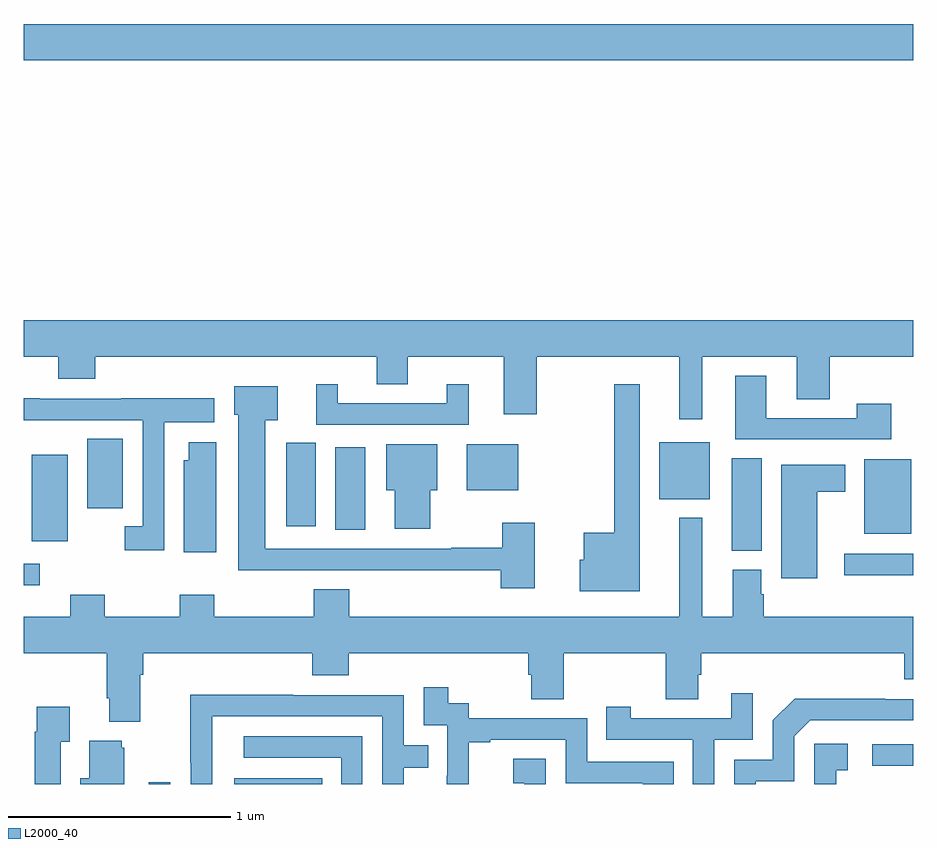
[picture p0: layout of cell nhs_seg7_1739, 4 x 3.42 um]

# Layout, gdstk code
import gdstk
lib = gdstk.Library(unit=1e-6, precision=1e-09)
def R(c, l, rs):  # rectangles x0, y0, x1, y1
    for r in rs: c.add(gdstk.rectangle(r[:2], r[2:], *l))
def P(c, l, *ps):  # polygons
    for p in ps: c.add(gdstk.Polygon(p, *l))
L2000_40 = (2000, 40)

nhs_seg7_1739 = lib.new_cell('nhs_seg7_1739')
R(nhs_seg7_1739, L2000_40, [(229.563,1028,229.659,1028.007), (229.946,1028,230.342,1028.026), (232.815,1028.082,233,1028.178), (229,1028.894,229.072,1028.991), (232.689,1028.939,233,1029.036), (232.184,1029.049,232.318,1029.464), (229.037,1029.092,229.198,1029.481), (232.778,1029.125,232.99,1029.46), (230.402,1029.142,230.536,1029.514), (230.18,1029.159,230.314,1029.534), (229.286,1029.24,229.447,1029.551), (231.857,1029.281,232.084,1029.535), (230.993,1029.32,231.223,1029.526), (229,1031.252,233,1031.416)])
P(nhs_seg7_1739, L2000_40, [(232.051,1029.92),(232.475,1029.92),(232.475,1029.73),(232.623,1029.73),(232.623,1029.92),(233,1029.92),(233,1030.084),(229,1030.084),(229,1029.92),(229.157,1029.92),(229.157,1029.821),(229.322,1029.821),(229.322,1029.92),(230.588,1029.92),(230.588,1029.796),(230.728,1029.796),(230.728,1029.92),(231.158,1029.92),(231.158,1029.663),(231.306,1029.663),(231.306,1029.92),(231.947,1029.92),(231.947,1029.639),(232.051,1029.639)],
  [(232.9,1029.709),(232.744,1029.709),(232.744,1029.645),(232.339,1029.645),(232.339,1029.835),(232.199,1029.835),(232.199,1029.549),(232.9,1029.549)],
  [(231.001,1029.796),(230.903,1029.796),(230.903,1029.711),(230.413,1029.711),(230.413,1029.796),(230.315,1029.796),(230.315,1029.615),(231.001,1029.615)],
  [(231.769,1029.796),(231.655,1029.796),(231.655,1029.13),(231.518,1029.13),(231.518,1029.009),(231.5,1029.009),(231.5,1028.867),(231.769,1028.867)],
  [(231.298,1029.175),(231.151,1029.175),(231.151,1029.062),(230.923,1029.062),(230.923,1029.057),(230.086,1029.057),(230.086,1029.635),(230.143,1029.635),(230.143,1029.787),(229.946,1029.787),(229.946,1029.66),(229.964,1029.66),(229.964,1028.96),(230.182,1028.96),(230.182,1028.961),(230.548,1028.961),(230.548,1028.96),(231.146,1028.96),(231.146,1028.88),(231.298,1028.88)],
  [(229.632,1029.626),(229.858,1029.626),(229.858,1029.734),(229.439,1029.734),(229.439,1029.732),(229.073,1029.732),(229.073,1029.734),(229,1029.734),(229,1029.635),(229.19,1029.635),(229.19,1029.636),(229.536,1029.636),(229.536,1029.159),(229.455,1029.159),(229.455,1029.051),(229.632,1029.051)],
  [(229.867,1029.535),(229.742,1029.535),(229.742,1029.456),(229.721,1029.456),(229.721,1029.042),(229.867,1029.042)],
  [(230.827,1029.32),(230.86,1029.32),(230.86,1029.526),(230.63,1029.526),(230.63,1029.32),(230.669,1029.32),(230.669,1029.147),(230.827,1029.147)],
  [(232.567,1029.314),(232.693,1029.314),(232.693,1029.436),(232.406,1029.436),(232.406,1028.924),(232.567,1028.924)],
  [(232.033,1028.49),(232.046,1028.49),(232.046,1028.588),(232.958,1028.588),(232.958,1028.471),(233,1028.471),(233,1028.752),(232.328,1028.752),(232.328,1028.853),(232.315,1028.853),(232.315,1028.964),(232.187,1028.964),(232.187,1028.752),(232.051,1028.752),(232.051,1029.196),(231.947,1029.196),(231.947,1028.752),(230.465,1028.752),(230.465,1028.876),(230.305,1028.876),(230.305,1028.752),(229.857,1028.752),(229.857,1028.851),(229.702,1028.851),(229.702,1028.752),(229.365,1028.752),(229.365,1028.851),(229.21,1028.851),(229.21,1028.752),(229,1028.752),(229,1028.588),(229.373,1028.588),(229.373,1028.386),(229.385,1028.386),(229.385,1028.279),(229.525,1028.279),(229.525,1028.492),(229.538,1028.492),(229.538,1028.588),(230.297,1028.588),(230.297,1028.489),(230.462,1028.489),(230.462,1028.588),(231.269,1028.588),(231.269,1028.49),(231.281,1028.49),(231.281,1028.38),(231.429,1028.38),(231.429,1028.588),(231.886,1028.588),(231.886,1028.38),(232.033,1028.38)],
  [(231.002,1028.187),(231.097,1028.187),(231.097,1028.199),(231.438,1028.199),(231.438,1028.004),(231.783,1028.004),(231.783,1028),(231.923,1028),(231.923,1028.1),(231.534,1028.1),(231.534,1028.295),(231,1028.295),(231,1028.364),(230.908,1028.364),(230.908,1028.434),(230.799,1028.434),(230.799,1028.265),(230.904,1028.265),(230.904,1028.036),(230.903,1028.036),(230.903,1028),(231.002,1028)],
  [(232.104,1028.199),(232.278,1028.199),(232.278,1028.407),(232.181,1028.407),(232.181,1028.295),(231.73,1028.295),(231.73,1028.347),(231.619,1028.347),(231.619,1028.199),(232.008,1028.199),(232.008,1028),(232.104,1028)],
  [(229.848,1028.053),(229.849,1028.053),(229.849,1028.304),(230.613,1028.304),(230.613,1028),(230.709,1028),(230.709,1028.074),(230.819,1028.074),(230.819,1028.175),(230.709,1028.175),(230.709,1028.4),(230.213,1028.4),(230.213,1028.402),(229.75,1028.402),(229.75,1028.095),(229.752,1028.095),(229.752,1028),(229.848,1028)],
  [(232.291,1028.013),(232.464,1028.013),(232.464,1028.214),(232.536,1028.286),(233,1028.286),(233,1028.382),(232.874,1028.382),(232.874,1028.384),(232.466,1028.384),(232.368,1028.286),(232.368,1028.109),(232.194,1028.109),(232.194,1028),(232.291,1028)],
  [(229.167,1028.191),(229.207,1028.191),(229.207,1028.347),(229.059,1028.347),(229.059,1028.234),(229.051,1028.234),(229.051,1028),(229.167,1028)],
  [(230.523,1028.214),(229.989,1028.214),(229.989,1028.118),(230.427,1028.118),(230.427,1028),(230.523,1028)],
  [(229.453,1028.163),(229.442,1028.163),(229.442,1028.194),(229.295,1028.194),(229.295,1028.026),(229.256,1028.026),(229.256,1028),(229.453,1028)],
  [(232.652,1028.061),(232.705,1028.061),(232.705,1028.182),(232.554,1028.182),(232.554,1028),(232.652,1028)],
  [(231.348,1028.113),(231.201,1028.113),(231.201,1028.003),(231.25,1028.003),(231.25,1028),(231.348,1028)])

lib.write_gds('nhs_seg7_1739.gds')
